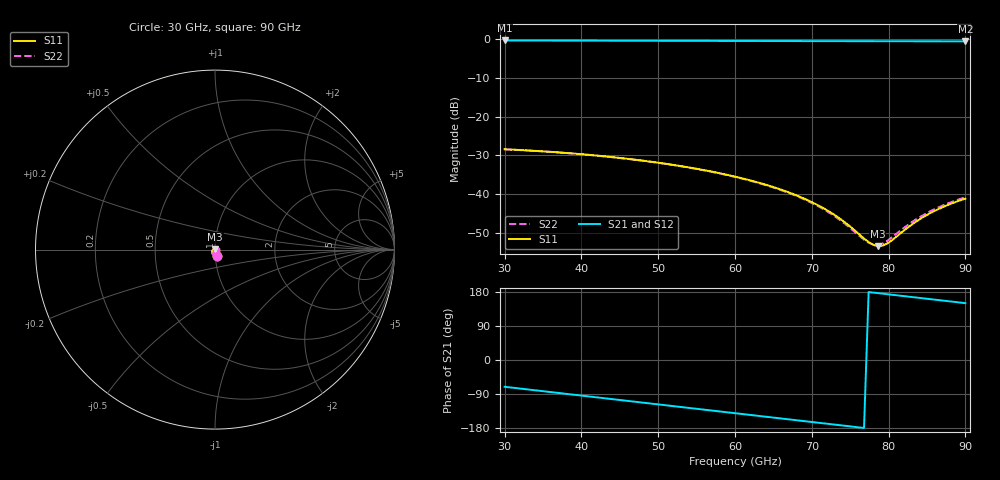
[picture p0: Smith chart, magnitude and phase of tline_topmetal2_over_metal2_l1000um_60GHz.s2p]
#  GHZ S DB R 50
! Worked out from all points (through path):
!   101 points, 30 GHz to 90 GHz, reference 50 ohm
!   highest |S21| = -0.45 dB at 30 GHz (marker M1); lowest = -0.7 dB at 90 GHz (marker M2)
!   group delay of S21, straight-line fit = 6.45 ps
!   lowest |S11| = -53.3 dB at 78.6 GHz (marker M3), VSWR 1.00, Z = 50.1 + j0.206 ohm
!   |S11| at or under -10 dB: start of sweep to end of sweep
!   |S22| runs from -53.0 to -28.4 dB; largest |S21 - S12| = 1.1e-14
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30  -28.42 -69.4  -0.45 -70.7  -0.45 -70.7  -28.42 -69.4
35.4  -28.99 -84.9  -0.48 -83.2  -0.48 -83.2  -29.00 -84.9
40.2  -29.71 -98.7  -0.50 -94.4  -0.50 -94.4  -29.72 -98.7
45  -30.63 -112.5  -0.52 -105.5  -0.52 -105.5  -30.65 -112.5
50.4  -31.97 -128.2  -0.54 -118.1  -0.54 -118.1  -32.00 -128.2
55.2  -33.49 -142.4  -0.56 -129.2  -0.56 -129.2  -33.53 -142.5
60  -35.43 -157.1  -0.58 -140.4  -0.58 -140.4  -35.50 -157.3
65.4  -38.37 -175.0  -0.60 -152.9  -0.60 -152.9  -38.50 -175.3
67.8  -40.08 176.1  -0.61 -158.5  -0.61 -158.5  -40.24 175.6
70.2  -42.17 166.0  -0.62 -164.0  -0.62 -164.0  -42.38 165.2
72  -44.08 156.9  -0.62 -168.2  -0.62 -168.2  -44.35 155.7
73.8  -46.42 145.3  -0.63 -172.4  -0.63 -172.4  -46.75 143.3
76.8  -51.33 111.2  -0.64 -179.3  -0.64 -179.3  -51.60 105.8
77.4  -52.26 99.9  -0.64 179.3  -0.64 179.3  -52.40 93.6
78  -52.96 86.6  -0.64 177.9  -0.64 177.9  -52.90 79.7
78.6  -53.30 72.0  -0.64 176.5  -0.64 176.5  -52.98 65.1
79.2  -53.17 57.1  -0.65 175.1  -0.65 175.1  -52.63 51.0
80.4  -51.82 31.5  -0.65 172.3  -0.65 172.3  -51.08 27.6
82.8  -48.07 0.5  -0.66 166.7  -0.66 166.7  -47.44 -0.5
84.6  -45.72 -12.9  -0.66 162.6  -0.66 162.6  -45.21 -13.2
87  -43.31 -25.8  -0.67 157.0  -0.67 157.0  -42.90 -25.7
90  -41.08 -38.4  -0.68 150.0  -0.68 150.0  -40.75 -38.1
